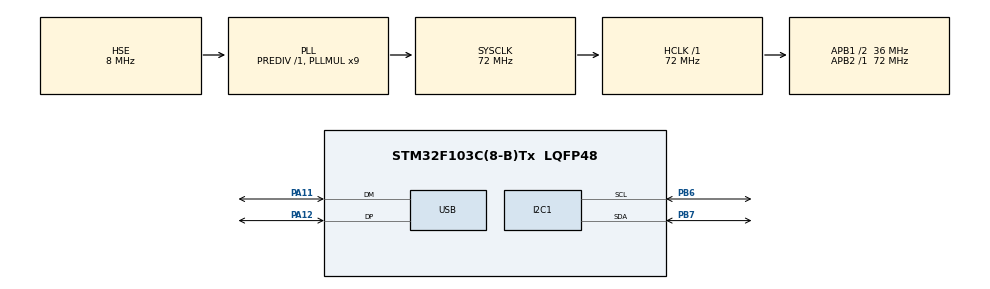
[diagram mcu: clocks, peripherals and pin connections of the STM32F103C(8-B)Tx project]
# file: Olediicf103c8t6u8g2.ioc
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I2C1.I2C_Mode=I2C_Standard
Mcu.Family=STM32F1
Mcu.Name=STM32F103C(8-B)Tx
Mcu.Package=LQFP48
NVIC.PriorityGroup=NVIC_PRIORITYGROUP_4
NVIC.USB_LP_CAN1_RX0_IRQn=true\:0\:0\:false\:false\:true\:false\:true\:true
PA11.Mode=Device
PA11.Signal=USB_DM
PA12.Mode=Device
PA12.Signal=USB_DP
PA13.Mode=Serial_Wire
PA13.Signal=SYS_JTMS-SWDIO
PA14.Mode=Serial_Wire
PA14.Signal=SYS_JTCK-SWCLK
PB6.Mode=I2C
PB6.Signal=I2C1_SCL
PB7.Mode=I2C
PB7.Signal=I2C1_SDA
PD0-OSC_IN.Mode=HSE-External-Oscillator
PD0-OSC_IN.Signal=RCC_OSC_IN
PD1-OSC_OUT.Mode=HSE-External-Oscillator
PD1-OSC_OUT.Signal=RCC_OSC_OUT
ProjectManager.HeapSize=0x200
ProjectManager.StackSize=0x400
ProjectManager.TargetToolchain=MDK-ARM V5.32
RCC.AHBFreq_Value=72000000
RCC.APB1CLKDivider=RCC_HCLK_DIV2
RCC.APB1Freq_Value=36000000
RCC.APB1TimFreq_Value=72000000
RCC.APB2Freq_Value=72000000
RCC.APB2TimFreq_Value=72000000
RCC.HCLKFreq_Value=72000000
RCC.PLLMUL=RCC_PLL_MUL9
RCC.PLLSourceVirtual=RCC_PLLSOURCE_HSE
RCC.SYSCLKFreq_VALUE=72000000
RCC.SYSCLKSource=RCC_SYSCLKSOURCE_PLLCLK
RCC.USBFreq_Value=48000000
RCC.USBPrescaler=RCC_USBCLKSOURCE_PLL_DIV1_5
TIM1.Channel-PWM\ Generation1\ No\ Output=TIM_CHANNEL_1
USB_DEVICE.CLASS_NAME_FS=CDC
USB_DEVICE.VirtualMode=Cdc
USB_DEVICE.VirtualModeFS=Cdc_FS
VP_TIM1_VS_ClockSourceINT.Mode=Internal
VP_TIM1_VS_no_output1.Mode=PWM Generation1 No Output
VP_USB_DEVICE_VS_USB_DEVICE_CDC_FS.Mode=CDC_FS
board=custom

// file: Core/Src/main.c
/* USER CODE BEGIN Header */
/**
  ******************************************************************************
  * @file           : main.c
  * @brief          : Main program body
  ******************************************************************************
  * @attention
  *
  * Copyright (c) 2024 STMicroelectronics.
  * All rights reserved.
  *
  * This software is licensed under terms that can be found in the LICENSE file
  * in the root directory of this software component.
  * If no LICENSE file comes with this software, it is provided AS-IS.
  *
  ******************************************************************************
  */
/* USER CODE END Header */
#include "main.h"
#include "i2c.h"
#include "tim.h"
#include "usb_device.h"
#include "gpio.h"

/* USER CODE BEGIN Includes */
#include "oled.h"
#include "gui.h"
#include "bmp.h"
/* USER CODE END Includes */

void SystemClock_Config(void);
/* USER CODE BEGIN PFP */
void Write_BMP_Byte(uint8_t Byte);
/* USER CODE END PFP */

/* USER CODE BEGIN 0 */
#define BMP_Flash_SAVE  (0x08008000) //使用的地址，扇区32
//检查oled屏幕尺寸定义
#warning "记得检查在oled.h中的屏幕尺寸定义 check the oled size define in oled.h!!!!!!!!!!!!"
uint8_t BMP_Receive_Buff[1024] = {0};
uint64_t BMP_Receive_Byte_num = 0;
uint64_t BMP_Flash_Write_Byte_idx = 0;
uint64_t BMP_Flash_Need_Write_Byte = 0;//需写入flash的字节数

int BMP_Flash_Init(uint32_t Flash_Addr)
{
    //FLASH解锁
    HAL_FLASH_Unlock();
    __HAL_FLASH_CLEAR_FLAG(FLASH_FLAG_OPTVERR);

    //FLASH擦除
    FLASH_EraseInitTypeDef EraseInitStruct;
    EraseInitStruct.TypeErase = FLASH_TYPEERASE_PAGES;    //页擦除，一页为1kb，刚好储存一张128*64像素图片
    EraseInitStruct.PageAddress = Flash_Addr;    //页地址
    EraseInitStruct.NbPages = 1;    //擦除多少个页
    uint32_t PageError = 0;            //记录擦除出错时的起始地址
    if(HAL_FLASHEx_Erase(&EraseInitStruct, &PageError)!=HAL_OK)
    {
        return 0;
    }
    //FLASH上锁
    HAL_FLASH_Lock();
    return 1;
}

int Flash_HAL_Write_N_2Byte_Data(uint32_t Write_addr, uint8_t *data, uint16_t num)
{
    //1、FLASH解锁
    HAL_FLASH_Unlock();
    __HAL_FLASH_CLEAR_FLAG(FLASH_FLAG_OPTVERR);

//    //2、FLASH擦除
//    FLASH_EraseInitTypeDef EraseInitStruct;
//    EraseInitStruct.TypeErase = FLASH_TYPEERASE_PAGES;    //页擦除
//    EraseInitStruct.PageAddress = BMP_Flash_SAVE;    //从第几个页开始擦除（0开始）
//    EraseInitStruct.NbPages = 1;    //擦除多少个页
//    uint32_t PageError = 0;            //记录擦除出错时的起始地址
//    if(HAL_FLASHEx_Erase(&EraseInitStruct, &PageError)!=HAL_OK)
//    {
////        printf("FLASH擦除出错,开始出错地址:%#x\r\n", PageError);
//        return -1;
//    }
    //3、FLASH写入
    for(uint16_t i=0; i<num; i++)
    {
        uint16_t Write_Data = (data[i*2+1] << 8 | data[i*2]);
        if(HAL_FLASH_Program(TYPEPROGRAM_HALFWORD, Write_addr, Write_Data)!=HAL_OK)
        {
//            printf("FLASH写入失败\r\n");
            return -1;
        }
        Write_addr += sizeof(uint16_t);
    }
    //4、FLASH上锁
    HAL_FLASH_Lock();
    return 0;
}

void Write_BMP_Byte(uint8_t Byte)
{
    static uint16_t Flash_write_time = 0;
}
        uint64_t Write_2Byte_num;
/* USER CODE END 0 */

int main(void)
{

  /* MCU Configuration--------------------------------------------------------*/

  /* Reset of all peripherals, Initializes the Flash interface and the Systick. */
  HAL_Init();

  /* Configure the system clock */
  SystemClock_Config();

  /* Initialize all configured peripherals */
  MX_GPIO_Init();
  MX_I2C1_Init();
  MX_TIM1_Init();
  MX_USB_DEVICE_Init();
  /* USER CODE BEGIN 2 */
  OLED_Init();			         //初始化OLED
  OLED_Clear(0);             //清屏（全黑）
  memcpy(BMP_Receive_Buff, (uint8_t*)BMP_Flash_SAVE, 1024); //从flash中搬运历史图片
  /* USER CODE END 2 */

  /* Infinite loop */
  while (1)
  {
      //开机后首次接收到图片信息 或 接收完一整幅图片后再接收到图片 时刷新flash空间
    if (BMP_Flash_Need_Write_Byte > 1 && BMP_Flash_Write_Byte_idx == 0)
        BMP_Flash_Init(BMP_Flash_SAVE);

    if (BMP_Flash_Need_Write_Byte >= 2)//由于flash的写入是以2字节为最小单位，所以每有大于或等于两个字节再写入flash
    {
        //uint64_t Write_2Byte_num;
        if (BMP_Flash_Write_Byte_idx + BMP_Flash_Need_Write_Byte > 1023)
        {   //接收完一整幅图片，把上一副图片剩余部分全写入flash,剩下新的图片下次循环再写入
            Write_2Byte_num = (1024-BMP_Flash_Write_Byte_idx)/2;
        }
        else
        {
            Write_2Byte_num = BMP_Flash_Need_Write_Byte/2;
        }
        //写入图片flash
        Flash_HAL_Write_N_2Byte_Data(BMP_Flash_SAVE+BMP_Flash_Write_Byte_idx*sizeof(uint8_t),
                                     BMP_Receive_Buff+BMP_Flash_Write_Byte_idx,
                                     Write_2Byte_num);

        BMP_Flash_Write_Byte_idx += Write_2Byte_num*2;
        BMP_Flash_Write_Byte_idx = BMP_Flash_Write_Byte_idx%1024;

        BMP_Flash_Need_Write_Byte -= Write_2Byte_num*2;
    }

    GUI_DrawBMP(0, 0, 128, 64, BMP_Receive_Buff, 1);
  }
}

void SystemClock_Config(void)
{
  RCC_OscInitTypeDef RCC_OscInitStruct = {0};
  RCC_ClkInitTypeDef RCC_ClkInitStruct = {0};
  RCC_PeriphCLKInitTypeDef PeriphClkInit = {0};

  /** Initializes the RCC Oscillators according to the specified parameters
  * in the RCC_OscInitTypeDef structure.
  */
  RCC_OscInitStruct.OscillatorType = RCC_OSCILLATORTYPE_HSE;
  RCC_OscInitStruct.HSEState = RCC_HSE_ON;
  RCC_OscInitStruct.HSEPredivValue = RCC_HSE_PREDIV_DIV1;
  RCC_OscInitStruct.HSIState = RCC_HSI_ON;
  RCC_OscInitStruct.PLL.PLLState = RCC_PLL_ON;
  RCC_OscInitStruct.PLL.PLLSource = RCC_PLLSOURCE_HSE;
  RCC_OscInitStruct.PLL.PLLMUL = RCC_PLL_MUL9;
  if (HAL_RCC_OscConfig(&RCC_OscInitStruct) != HAL_OK)
  {
    Error_Handler();
  }

  /** Initializes the CPU, AHB and APB buses clocks
  */
  RCC_ClkInitStruct.ClockType = RCC_CLOCKTYPE_HCLK|RCC_CLOCKTYPE_SYSCLK
                              |RCC_CLOCKTYPE_PCLK1|RCC_CLOCKTYPE_PCLK2;
  RCC_ClkInitStruct.SYSCLKSource = RCC_SYSCLKSOURCE_PLLCLK;
  RCC_ClkInitStruct.AHBCLKDivider = RCC_SYSCLK_DIV1;
  RCC_ClkInitStruct.APB1CLKDivider = RCC_HCLK_DIV2;
  RCC_ClkInitStruct.APB2CLKDivider = RCC_HCLK_DIV1;

  if (HAL_RCC_ClockConfig(&RCC_ClkInitStruct, FLASH_LATENCY_2) != HAL_OK)
  {
    Error_Handler();
  }
  PeriphClkInit.PeriphClockSelection = RCC_PERIPHCLK_USB;
  PeriphClkInit.UsbClockSelection = RCC_USBCLKSOURCE_PLL_DIV1_5;
  if (HAL_RCCEx_PeriphCLKConfig(&PeriphClkInit) != HAL_OK)
  {
    Error_Handler();
  }
}

void Error_Handler(void)
{
  __disable_irq();
  while (1)
  {
  }
}
